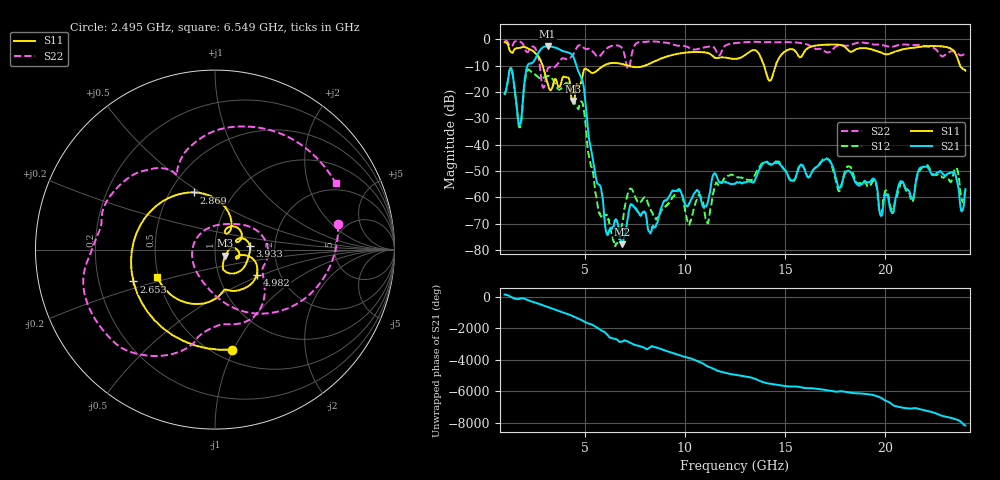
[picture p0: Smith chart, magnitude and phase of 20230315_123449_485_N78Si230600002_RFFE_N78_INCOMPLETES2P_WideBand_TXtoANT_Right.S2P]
! Station ID = ERIDANLABPC001
! Timestamp = 3/15/2023 12:38:08 PM
! OS = Microsoft Windows NT 6.2.9200.0
! NetworkAnalyzer Address = GPIB0::16::INSTR
! NetworkAnalyzer IDString = HEWLETT PACKARD,8722D,0,6.14
! NetworkAnalyzer FrequencyStart = 1000000000
! NetworkAnalyzer FrequencyStop = 24000000000
! NetworkAnalyzer Points = 1601
! NetworkAnalyzer Power = -10
# MHz S DB R 50
! freq  magS11  angS11  magS21  angS21  magS12  angS12  magS22  angS22
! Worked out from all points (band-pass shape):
!   1601 points, 1 GHz to 24 GHz, reference 50 ohm
!   highest |S21| = -2.66 dB at 3.142 GHz (marker M1); lowest = -77.8 dB at 6.879 GHz (marker M2)
!   |S21| within 3 dB of the highest: 2.652 GHz to 4.343 GHz (1.69 GHz wide, 48.3 % of centre)
!   lowest |S11| = -23.4 dB at 4.407 GHz (marker M3), VSWR 1.14, Z = 56.1 - j3.83 ohm
!   |S11| at or under -10 dB: 2.897 GHz to 5.948 GHz (3.051 GHz wide, 69 % of centre); 7.164 GHz to 8.002 GHz (837.6 MHz wide, 11 % of centre); 13.95 GHz to 14.53 GHz (578.6 MHz wide, 4.06 % of centre)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
!   |S22| runs from -18.4 to -0.4 dB; largest |S21 - S12| = 0.73
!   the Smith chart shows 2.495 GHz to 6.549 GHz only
!   S11 on the Smith chart (normalised r, x): 2.495 GHz: 0.60, -0.99; 2.653 GHz: 0.35, -0.17; 2.869 GHz: 0.65, +0.47; 3.933 GHz: 1.48, +0.07; 4.982 GHz: 1.52, -0.46; 6.549 GHz: 0.49, -0.17
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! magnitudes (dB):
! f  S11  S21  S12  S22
! 1 GHz  -1.1  -20.6  -21.1  -0.4
! 1.345 GHz  -5.0  -11.2  -11.3  -2.6
! 1.762 GHz  -3.2  -32.5  -33.4  -0.9
! 2.495 GHz  -5.0  -7.9  -13.2  -3.1
! 2.653 GHz  -6.2  -5.6  -14.2  -5.7
! 2.869 GHz  -9.4  -3.3  -14.9  -17.2
! 3.142 GHz  -16.6  -2.7  -13.9  -11.4
! 3.933 GHz  -14.2  -4.6  -17.6  -7.2
! 4.407 GHz  -23.4  -6.2  -20.4  -6.1
! 4.838 GHz  -15.8  -14.7  -23.6  -2.4
! 4.982 GHz  -11.3  -20.0  -28.2  -3.4
! 6.074 GHz  -9.5  -73.2  -66.7  -3.6
! 6.549 GHz  -9.0  -68.2  -77.6  -2.3
! 6.879 GHz  -9.4  -77.8  -69.3  -3.6
! 7.282 GHz  -10.2  -62.7  -56.7  -8.5
! 8.676 GHz  -7.7  -68.1  -66.8  -0.9
! 11.12 GHz  -5.1  -62.4  -69.5  -2.9
! 12.5 GHz  -7.4  -54.8  -51.9  -1.5
! 16.34 GHz  -2.7  -50.4  -50.5  -2.8
! 20.18 GHz  -5.6  -61.2  -59.8  -2.8
! 21.96 GHz  -2.7  -48.4  -48.0  -2.5
! 24 GHz  -11.8  -56.8  -57.2  -5.4
